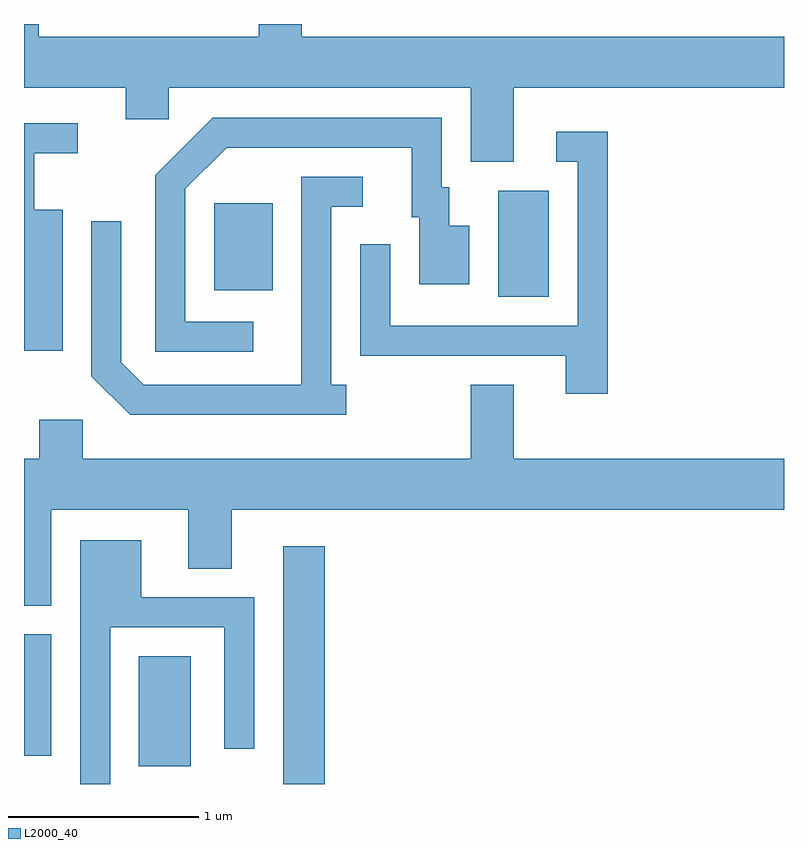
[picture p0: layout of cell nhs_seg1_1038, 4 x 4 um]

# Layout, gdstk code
import gdstk
lib = gdstk.Library(unit=1e-6, precision=1e-09)
def R(c, l, rs):  # rectangles x0, y0, x1, y1
    for r in rs: c.add(gdstk.rectangle(r[:2], r[2:], *l))
def P(c, l, *ps):  # polygons
    for p in ps: c.add(gdstk.Polygon(p, *l))
L2000_40 = (2000, 40)

nhs_seg1_1038 = lib.new_cell('nhs_seg1_1038')
R(nhs_seg1_1038, L2000_40, [(218.976,873.712,219.194,874.964), (218.216,873.806,218.489,874.384), (217.611,873.861,217.754,874.499), (220.106,876.276,220.374,876.834), (218.611,876.311,218.919,876.769)])
P(nhs_seg1_1038, L2000_40, [(220.189,877.376),(221.611,877.376),(221.611,877.644),(219.074,877.644),(219.074,877.712),(218.846,877.712),(218.846,877.644),(217.689,877.644),(217.689,877.712),(217.611,877.712),(217.611,877.376),(218.146,877.376),(218.146,877.211),(218.374,877.211),(218.374,877.376),(219.961,877.376),(219.961,876.986),(220.189,876.986)],
  [(218.818,876.144),(218.459,876.144),(218.459,876.844),(218.677,877.061),(219.651,877.061),(219.651,876.696),(219.691,876.696),(219.691,876.341),(219.954,876.341),(219.954,876.649),(219.849,876.649),(219.849,876.854),(219.809,876.854),(219.809,877.219),(218.604,877.219),(218.301,876.917),(218.301,875.986),(218.818,875.986)],
  [(217.814,876.734),(217.664,876.734),(217.664,877.031),(217.893,877.031),(217.893,877.189),(217.611,877.189),(217.611,875.991),(217.814,875.991)],
  [(220.684,877.144),(220.413,877.144),(220.413,876.986),(220.526,876.986),(220.526,876.124),(219.539,876.124),(219.539,876.553),(219.381,876.553),(219.381,875.966),(220.461,875.966),(220.461,875.766),(220.684,875.766)],
  [(219.308,875.814),(219.229,875.814),(219.229,876.751),(219.393,876.751),(219.393,876.909),(219.071,876.909),(219.071,875.814),(218.242,875.814),(218.124,875.932),(218.124,876.673),(217.966,876.673),(217.966,875.859),(218.169,875.656),(219.308,875.656)],
  [(217.754,875.156),(218.476,875.156),(218.476,874.846),(218.704,874.846),(218.704,875.156),(221.611,875.156),(221.611,875.424),(220.189,875.424),(220.189,875.814),(219.961,875.814),(219.961,875.424),(217.919,875.424),(217.919,875.629),(217.691,875.629),(217.691,875.424),(217.611,875.424),(217.611,874.651),(217.754,874.651)],
  [(218.064,874.536),(218.666,874.536),(218.666,873.898),(218.824,873.898),(218.824,874.694),(218.229,874.694),(218.229,874.994),(217.906,874.994),(217.906,873.712),(218.064,873.712)])

lib.write_gds('nhs_seg1_1038.gds')
